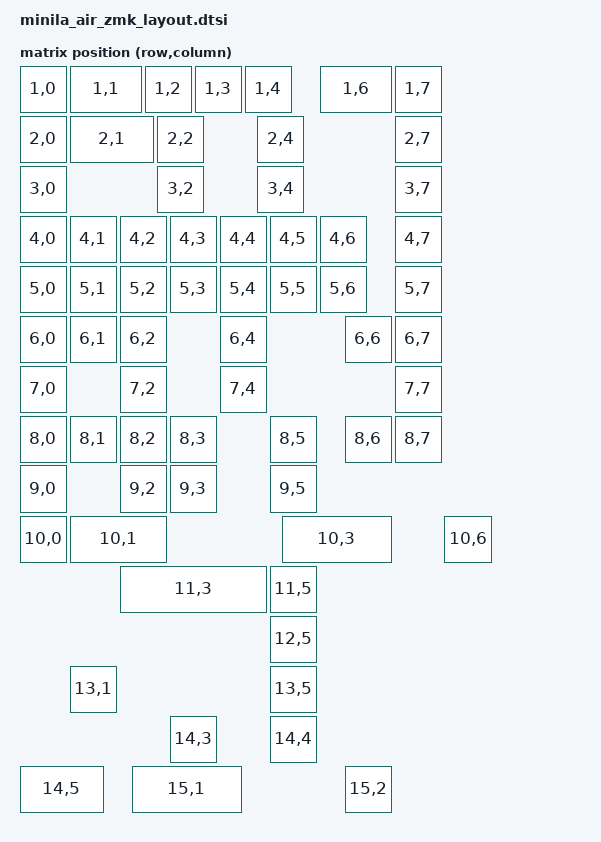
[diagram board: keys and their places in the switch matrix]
/*
 * Copyright (c) 2022-2024 alin m elena
 * SPDX-License-Identifier: MIT
 */

#include <dt-bindings/zmk/matrix_transform.h>
#include <physical_layouts.dtsi>

/ {
    m66_layout: m66_layout {
        compatible = "zmk,physical-layout";
        display-name = "m66 default layout";
        transform = <&m66>;
        
        keys  //                     w   h    x    y     rot   rx   ry
            = <&key_physical_attrs 100 100    0    0       0    0    0>  // Q
            , <&key_physical_attrs 150 100  100    0       0    0    0>  // Tab (1.5U)
            , <&key_physical_attrs 100 100  250    0       0    0    0>  // A
            , <&key_physical_attrs 100 100  350    0       0    0    0>  // Esc
            , <&key_physical_attrs 100 100  450    0       0    0    0>  // Z
            , <&key_physical_attrs 150 100  600    0       0    0    0>  // \ (1.5U)
            , <&key_physical_attrs 100 100  750    0       0    0    0>  // 1
            , <&key_physical_attrs 100 100    0  100       0    0    0>  // W
            , <&key_physical_attrs 175 100  100  100       0    0    0>  // Caps (1.75U)
            , <&key_physical_attrs 100 100  275  100       0    0    0>  // S
            , <&key_physical_attrs 100 100  475  100       0    0    0>  // X
            , <&key_physical_attrs 100 100  750  100       0    0    0>  // 2
            , <&key_physical_attrs 100 100    0  200       0    0    0>  // E
            , <&key_physical_attrs 100 100  275  200       0    0    0>  // D
            , <&key_physical_attrs 100 100  475  200       0    0    0>  // C
            , <&key_physical_attrs 100 100  750  200       0    0    0>  // 3
            , <&key_physical_attrs 100 100    0  300       0    0    0>  // R
            , <&key_physical_attrs 100 100  100  300       0    0    0>  // T
            , <&key_physical_attrs 100 100  200  300       0    0    0>  // F
            , <&key_physical_attrs 100 100  300  300       0    0    0>  // G
            , <&key_physical_attrs 100 100  400  300       0    0    0>  // V
            , <&key_physical_attrs 100 100  500  300       0    0    0>  // B
            , <&key_physical_attrs 100 100  600  300       0    0    0>  // 5
            , <&key_physical_attrs 100 100  750  300       0    0    0>  // 4
            , <&key_physical_attrs 100 100    0  400       0    0    0>  // U
            , <&key_physical_attrs 100 100  100  400       0    0    0>  // Y
            , <&key_physical_attrs 100 100  200  400       0    0    0>  // J
            , <&key_physical_attrs 100 100  300  400       0    0    0>  // H
            , <&key_physical_attrs 100 100  400  400       0    0    0>  // M
            , <&key_physical_attrs 100 100  500  400       0    0    0>  // N
            , <&key_physical_attrs 100 100  600  400       0    0    0>  // 6
            , <&key_physical_attrs 100 100  750  400       0    0    0>  // 7
            , <&key_physical_attrs 100 100    0  500       0    0    0>  // I
            , <&key_physical_attrs 100 100  100  500       0    0    0>  // ]
            , <&key_physical_attrs 100 100  200  500       0    0    0>  // K
            , <&key_physical_attrs 100 100  400  500       0    0    0>  // ,
            , <&key_physical_attrs 100 100  650  500       0    0    0>  // +/=
            , <&key_physical_attrs 100 100  750  500       0    0    0>  // 8
            , <&key_physical_attrs 100 100    0  600       0    0    0>  // O
            , <&key_physical_attrs 100 100  200  600       0    0    0>  // L
            , <&key_physical_attrs 100 100  400  600       0    0    0>  // .
            , <&key_physical_attrs 100 100  750  600       0    0    0>  // 9
            , <&key_physical_attrs 100 100    0  700       0    0    0>  // P
            , <&key_physical_attrs 100 100  100  700       0    0    0>  // [
            , <&key_physical_attrs 100 100  200  700       0    0    0>  // ;
            , <&key_physical_attrs 100 100  300  700       0    0    0>  // '
            , <&key_physical_attrs 100 100  500  700       0    0    0>  // /
            , <&key_physical_attrs 100 100  650  700       0    0    0>  // -
            , <&key_physical_attrs 100 100  750  700       0    0    0>  // 0
            , <&key_physical_attrs 100 100    0  800       0    0    0>  // R_Fn
            , <&key_physical_attrs 100 100  200  800       0    0    0>  // L_Fn
            , <&key_physical_attrs 100 100  300  800       0    0    0>  // L_Alt
            , <&key_physical_attrs 100 100  500  800       0    0    0>  // R_Alt
            , <&key_physical_attrs 100 100    0  900       0    0    0>  // `
            , <&key_physical_attrs 200 100  100  900       0    0    0>  // Backspace
            , <&key_physical_attrs 225 100  525  900       0    0    0>  // Enter (2.25U)
            , <&key_physical_attrs 100 100  850  900       0    0    0>  // Delete (1U)
            , <&key_physical_attrs 300 100  200 1000       0    0    0>  // Space (3U)
            , <&key_physical_attrs 100 100  500 1000       0    0    0>  // Down
            , <&key_physical_attrs 100 100  500 1100       0    0    0>  // Right
            , <&key_physical_attrs 100 100  100 1200       0    0    0>  // Win
            , <&key_physical_attrs 100 100  500 1200       0    0    0>  // App
            , <&key_physical_attrs 100 100  300 1300       0    0    0>  // UP
            , <&key_physical_attrs 100 100  500 1300       0    0    0>  // Left
            , <&key_physical_attrs 175 100    0 1400       0    0    0>  // L_Ctrl (1.75U)
            , <&key_physical_attrs 225 100  225 1400       0    0    0>  // L_Shift (2.25U)
            , <&key_physical_attrs 100 100  650 1400       0    0    0>  // R_Shift (1U)
            ;
   };

      m66: m66_0 {
            compatible = "zmk,matrix-transform";
            columns = <8>;
            rows = <16>;
            map = <
                RC(1,0) RC(1,1) RC(1,2) RC(1,3) RC(1,4)         RC(1,6) RC(1,7)
                RC(2,0) RC(2,1) RC(2,2)         RC(2,4)                 RC(2,7)
                RC(3,0)         RC(3,2)         RC(3,4)                 RC(3,7)
                RC(4,0) RC(4,1) RC(4,2) RC(4,3) RC(4,4) RC(4,5) RC(4,6) RC(4,7)
                RC(5,0) RC(5,1) RC(5,2) RC(5,3) RC(5,4) RC(5,5) RC(5,6) RC(5,7)
                RC(6,0) RC(6,1) RC(6,2)         RC(6,4)         RC(6,6) RC(6,7)
                RC(7,0)         RC(7,2)         RC(7,4)                 RC(7,7)
                RC(8,0) RC(8,1) RC(8,2) RC(8,3)         RC(8,5) RC(8,6) RC(8,7)
                RC(9,0)         RC(9,2) RC(9,3)         RC(9,5)        
                RC(10,0) RC(10,1)        RC(10,3)         RC(10,6)       
                                RC(11,3)         RC(11,5)               
                                                RC(12,5)               
                        RC(13,1)                RC(13,5)               
                                RC(14,3) RC(14,4) RC(14,5)               
                        RC(15,1) RC(15,2)                              
            >;
        };
};
